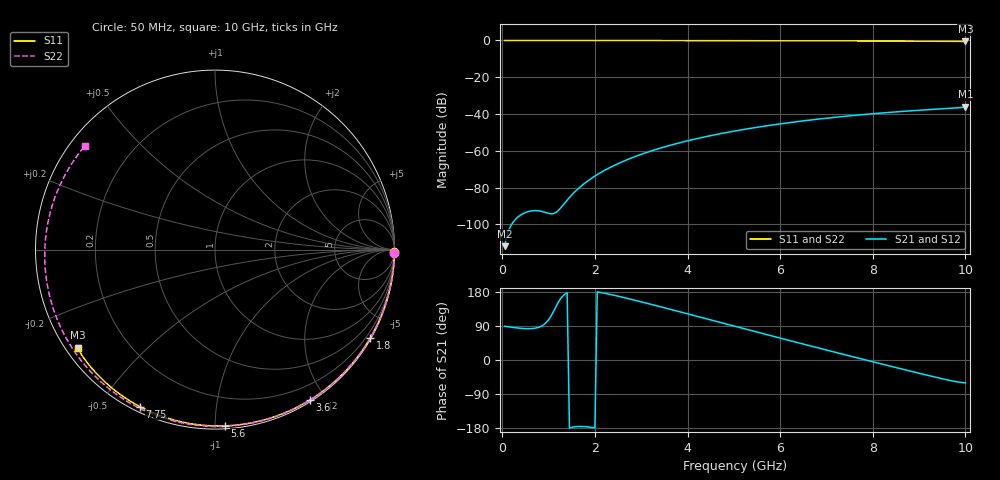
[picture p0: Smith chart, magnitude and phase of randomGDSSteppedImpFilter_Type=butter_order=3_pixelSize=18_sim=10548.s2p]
! freq	dB(S11)	phase(S11)	dB(S12)	phase(S12)
!  dB(S21)	phase(S21)	dB(S22)	phase(S22)
!S-par simulation data
#  GHz  S  DB  R 50
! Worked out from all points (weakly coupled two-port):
!   200 points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, 50 MHz to 10 GHz, reference 50 ohm
!   highest |S21| = -35.93 dB at 10 GHz (marker M1); lowest = -111.9 dB at 50 MHz (marker M2)
!   lowest |S11| = -0.6 dB at 10 GHz (marker M3), VSWR 31.32, Z = 1.76 - j16 ohm
!   |S11| at or under -10 dB: nowhere
!   |S22| runs from -0.7 to 0.0 dB; largest |S21 - S12| = 0
!   S11 on the Smith chart (normalised r, x): 50 MHz: open; 1.8 GHz: 0.03, -3.78; 3.6 GHz: 0.02, -1.81; 5.6 GHz: 0.02, -1.06; 7.75 GHz: 0.02, -0.63; 10 GHz: 0.04, -0.32
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0.05  -0.00 -0.8  -111.92 89.1  -111.92 89.1  -0.00 -1.2
0.8  -0.02 -13.3  -92.76 86.9  -92.76 86.9  -0.02 -18.4
1.65  -0.03 -27.2  -80.39 -175.4  -80.39 -175.4  -0.05 -37.6
1.75  -0.04 -28.8  -78.26 -175.6  -78.26 -175.6  -0.05 -39.8
1.8  -0.04 -29.6  -77.28 -176.0  -77.28 -176.0  -0.05 -40.9
2.1  -0.04 -34.5  -72.22 178.8  -72.22 178.8  -0.06 -47.5
2.5  -0.05 -40.8  -67.01 168.4  -67.01 168.4  -0.07 -56.2
2.9  -0.06 -47.1  -62.86 156.6  -62.86 156.6  -0.08 -64.8
3.4  -0.07 -54.8  -58.66 141.1  -58.66 141.1  -0.10 -75.4
3.6  -0.08 -57.8  -57.21 134.7  -57.21 134.7  -0.11 -79.5
4.3  -0.10 -68.3  -52.85 112.2  -52.85 112.2  -0.14 -93.9
5.05  -0.12 -79.1  -49.13 88.1  -49.13 88.1  -0.17 -108.9
5.6  -0.14 -86.8  -46.85 70.5  -46.85 70.5  -0.20 -119.9
6.15  -0.17 -94.4  -44.88 53.0  -44.88 53.0  -0.24 -130.8
6.7  -0.20 -101.8  -43.15 35.7  -43.15 35.7  -0.28 -141.8
7.25  -0.23 -109.0  -41.64 18.5  -41.64 18.5  -0.33 -153.1
7.75  -0.27 -115.5  -40.42 3.0  -40.42 3.0  -0.38 -163.6
8.35  -0.32 -123.2  -39.15 -15.4  -39.15 -15.4  -0.45 -176.9
8.8  -0.36 -129.0  -38.32 -29.0  -38.32 -29.0  -0.50 172.7
9.2  -0.40 -134.1  -37.66 -40.9  -37.66 -40.9  -0.55 162.9
9.85  -0.49 -142.4  -36.66 -58.2  -36.66 -58.2  -0.64 145.8
10  -0.55 -144.4  -35.93 -60.5  -35.93 -60.5  -0.66 141.6
